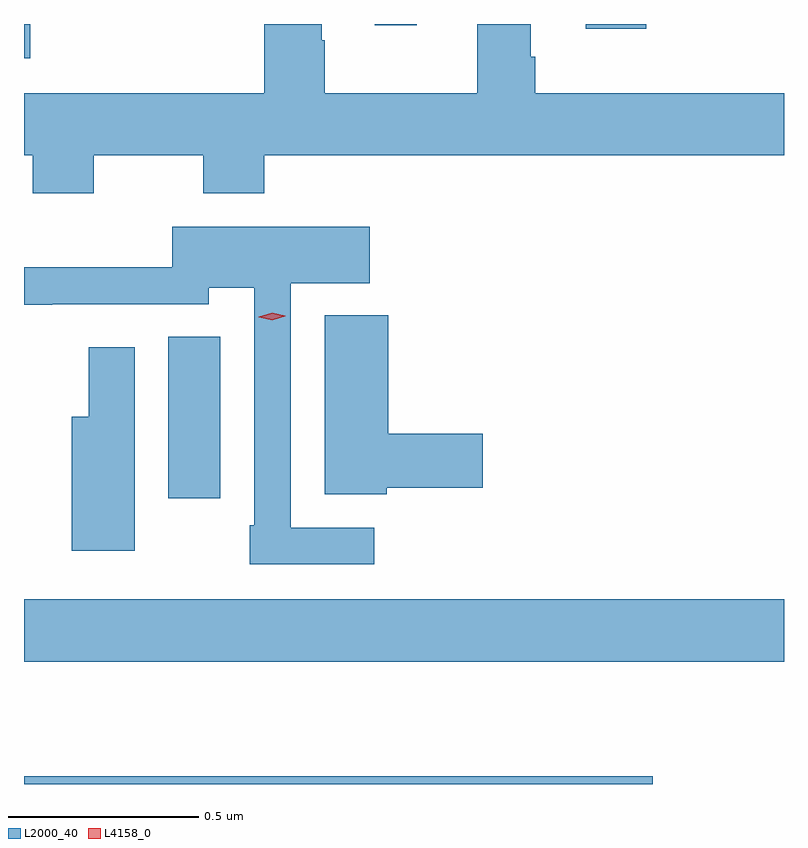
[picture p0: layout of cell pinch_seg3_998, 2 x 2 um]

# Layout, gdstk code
import gdstk
lib = gdstk.Library(unit=1e-6, precision=1e-09)
def R(c, l, rs):  # rectangles x0, y0, x1, y1
    for r in rs: c.add(gdstk.rectangle(r[:2], r[2:], *l))
def P(c, l, *ps):  # polygons
    for p in ps: c.add(gdstk.Polygon(p, *l))
L2000_40 = (2000, 40)
L4158_0 = (4158, 0)

pinch_seg3_998 = lib.new_cell('pinch_seg3_998')
R(pinch_seg3_998, L2000_40, [(421.38,735.226,423.035,735.247), (421.38,735.548,423.38,735.712), (421.76,735.978,421.897,736.403), (421.38,737.136,421.397,737.226), (422.858,737.214,423.017,737.226), (422.303,737.223,422.413,737.226)])
P(pinch_seg3_998, L2000_40, [(421.563,736.88),(421.852,736.88),(421.852,736.781),(422.012,736.781),(422.012,736.88),(423.38,736.88),(423.38,737.044),(422.726,737.044),(422.726,737.14),(422.713,737.14),(422.713,737.226),(422.573,737.226),(422.573,737.044),(422.172,737.044),(422.172,737.183),(422.164,737.183),(422.164,737.226),(422.012,737.226),(422.012,737.044),(421.38,737.044),(421.38,736.88),(421.403,736.88),(421.403,736.781),(421.563,736.781)],
  [(422.302,735.9),(422.082,735.9),(422.082,736.544),(422.29,736.544),(422.29,736.693),(421.77,736.693),(421.77,736.586),(421.38,736.586),(421.38,736.487),(421.454,736.487),(421.454,736.488),(421.866,736.488),(421.866,736.532),(421.986,736.532),(421.986,735.907),(421.974,735.907),(421.974,735.804),(422.302,735.804)],
  [(422.334,736.006),(422.587,736.006),(422.587,736.148),(422.338,736.148),(422.338,736.459),(422.171,736.459),(422.171,735.989),(422.334,735.989)],
  [(421.672,736.375),(421.55,736.375),(421.55,736.192),(421.505,736.192),(421.505,735.84),(421.672,735.84)])
P(pinch_seg3_998, L4158_0, [(422.033,736.446),(421.998,736.454),(421.998,736.455),(421.998,736.455),(422.033,736.466),(422.068,736.458),(422.068,736.457),(422.068,736.457)])

lib.write_gds('pinch_seg3_998.gds')
